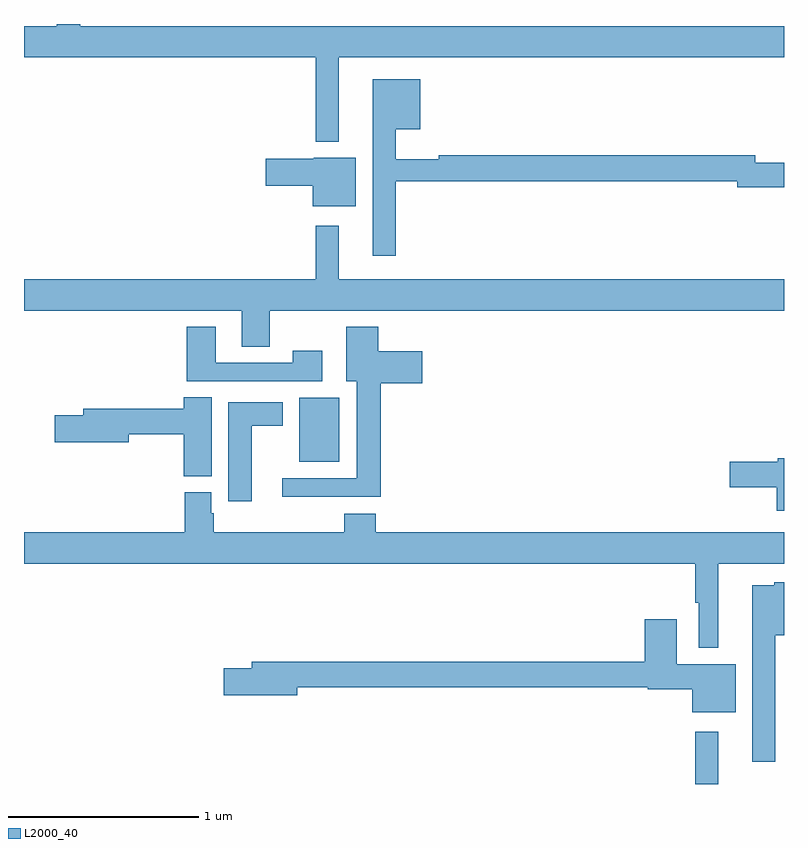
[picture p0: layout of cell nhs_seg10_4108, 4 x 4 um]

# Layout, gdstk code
import gdstk
lib = gdstk.Library(unit=1e-6, precision=1e-09)
def R(c, l, rs):  # rectangles x0, y0, x1, y1
    for r in rs: c.add(gdstk.rectangle(r[:2], r[2:], *l))
def P(c, l, *ps):  # polygons
    for p in ps: c.add(gdstk.Polygon(p, *l))
L2000_40 = (2000, 40)

nhs_seg10_4108 = lib.new_cell('nhs_seg10_4108')
R(nhs_seg10_4108, L2000_40, [(342.534,1288.5,342.655,1288.774), (340.448,1290.197,340.66,1290.532)])
P(nhs_seg10_4108, L2000_40, [(340.657,1292.324),(343,1292.324),(343,1292.488),(339.295,1292.488),(339.295,1292.5),(339.173,1292.5),(339.173,1292.488),(339,1292.488),(339,1292.324),(340.536,1292.324),(340.536,1291.88),(340.657,1291.88)],
  [(340.957,1291.672),(342.753,1291.672),(342.753,1291.641),(343,1291.641),(343,1291.769),(342.849,1291.769),(342.849,1291.808),(341.182,1291.808),(341.182,1291.789),(340.957,1291.789),(340.957,1291.946),(341.086,1291.946),(341.086,1292.209),(340.835,1292.209),(340.835,1291.281),(340.957,1291.281)],
  [(340.747,1291.795),(340.524,1291.795),(340.524,1291.79),(340.272,1291.79),(340.272,1291.648),(340.52,1291.648),(340.52,1291.541),(340.747,1291.541)],
  [(340.293,1290.992),(343,1290.992),(343,1291.156),(340.657,1291.156),(340.657,1291.438),(340.536,1291.438),(340.536,1291.156),(339,1291.156),(339,1290.992),(340.145,1290.992),(340.145,1290.802),(340.293,1290.802)],
  [(340.57,1290.781),(340.414,1290.781),(340.414,1290.717),(340.009,1290.717),(340.009,1290.907),(339.857,1290.907),(339.857,1290.621),(340.57,1290.621)],
  [(340.877,1290.608),(341.095,1290.608),(341.095,1290.778),(340.864,1290.778),(340.864,1290.907),(340.697,1290.907),(340.697,1290.62),(340.751,1290.62),(340.751,1290.108),(340.359,1290.108),(340.359,1290.011),(340.877,1290.011)],
  [(339.988,1290.536),(339.842,1290.536),(339.842,1290.476),(339.311,1290.476),(339.311,1290.44),(339.162,1290.44),(339.162,1290.298),(339.55,1290.298),(339.55,1290.34),(339.842,1290.34),(339.842,1290.121),(339.988,1290.121)],
  [(340.198,1290.386),(340.363,1290.386),(340.363,1290.508),(340.076,1290.508),(340.076,1289.988),(340.198,1289.988)],
  [(343,1290.215),(342.966,1290.215),(342.966,1290.197),(342.714,1290.197),(342.714,1290.062),(342.962,1290.062),(342.962,1289.939),(343,1289.939)],
  [(342.655,1289.66),(343,1289.66),(343,1289.824),(340.85,1289.824),(340.85,1289.923),(340.685,1289.923),(340.685,1289.824),(339.998,1289.824),(339.998,1289.925),(339.985,1289.925),(339.985,1290.036),(339.845,1290.036),(339.845,1289.824),(339,1289.824),(339,1289.66),(342.534,1289.66),(342.534,1289.455),(342.551,1289.455),(342.551,1289.216),(342.655,1289.216)],
  [(342.955,1289.282),(343,1289.282),(343,1289.563),(342.948,1289.563),(342.948,1289.545),(342.833,1289.545),(342.833,1288.617),(342.955,1288.617)],
  [(342.745,1289.131),(342.436,1289.131),(342.436,1289.368),(342.266,1289.368),(342.266,1289.144),(340.199,1289.144),(340.199,1289.108),(340.05,1289.108),(340.05,1288.966),(340.438,1288.966),(340.438,1289.008),(342.282,1289.008),(342.282,1289),(342.518,1289),(342.518,1288.877),(342.745,1288.877)])

lib.write_gds('nhs_seg10_4108.gds')
